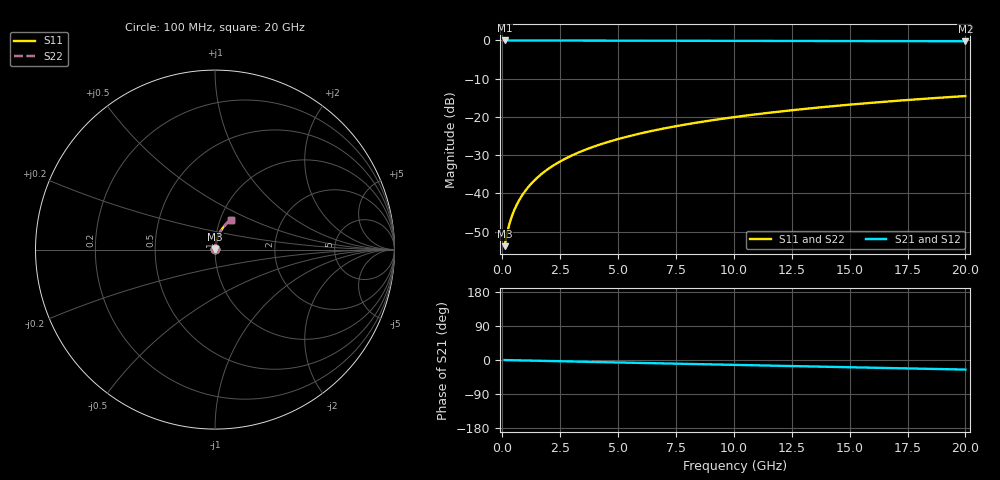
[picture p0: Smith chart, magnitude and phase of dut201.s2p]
! Touchstone file exported from HFSS 2026.1.0
!  File:  C:/ffzhzh/LocalFiles/Ansys_Project_Files/temp_train_TMRDL_201_1782983996_40604.aedt
!  Generated:  05:21:09 PM Jul  2, 2026
!  Design:  TMRDL
!  Project:  temp_train_TMRDL_201_1782983996_40604
! Variables:
!  h_bsmrdl = 2um
!  h_ox = 20um
!  h_rdl = 5um
!  h_sub = 80um
!  h_tmrdl = 3.94um
!  h_tsv = 80um
!  h_via = 3um
!  l_bsmrdl = 300um
!  l_sub = 781.57um
!  l_tmrdl = 381.57um
!  m_sub = 200um
!  pitch = 40.98um
!  r_tsv = 6um
!  s_tmrdl = 10um
!  w_bsmrdl = 18um
!  w_sub = 500um
!  w_tmrdl = 24.37um
!  x_tsv_center1 = 393.755um
!  x_tsv_center2 = 711.755um
!  x_tsv_center3 = 1117.695um
!  x_tsv_center4 = 1435.695um
!  x_tsv_center5 = 1841.635um
!  x_tsv_center6 = 2159.635um
# GHz S MA R 50.000000
! Terminal data exported
! Port[1] = TM_RDL1_1_T1
! Port[2] = TM_RDL1_1_T2
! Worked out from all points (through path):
!   200 points, 100 MHz to 20 GHz, reference 50 ohm
!   highest |S21| = -0.01 dB at 100 MHz (marker M1); lowest = -0.2 dB at 20 GHz (marker M2)
!   group delay of S21, straight-line fit = 3.5 ps
!   lowest |S11| = -53.8 dB at 100 MHz (marker M3), VSWR 1.00, Z = 50.2 + j0.122 ohm
!   |S11| at or under -10 dB: start of sweep to end of sweep
!   |S22| runs from -53.8 to -14.6 dB; largest |S21 - S12| = 4.4e-15
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0.1  0.002033 36.6  0.9984 -0.1  0.9984 -0.1  0.002033 36.6
! Gamma 0 0 0 0
! Port Impedance 50 0 50 0
0.2  0.002939 53.3  0.9982 -0.3  0.9982 -0.3  0.002939 53.3
0.3  0.003914 61.1  0.9981 -0.4  0.9981 -0.4  0.003913 61.1
0.4  0.004888 65.8  0.998 -0.5  0.998 -0.5  0.004888 65.8
0.5  0.005863 69.1  0.998 -0.7  0.998 -0.7  0.005863 69.1
0.6  0.006843 71.5  0.9979 -0.8  0.9979 -0.8  0.006843 71.5
0.8  0.008824 74.8  0.9978 -1.1  0.9978 -1.1  0.008824 74.8
1.1  0.01184 77.6  0.9977 -1.5  0.9977 -1.5  0.01184 77.6
1.3  0.01387 78.8  0.9976 -1.7  0.9976 -1.7  0.01387 78.8
1.6  0.01692 79.8  0.9975 -2.1  0.9975 -2.1  0.01692 79.8
2.1  0.02203 80.7  0.9973 -2.8  0.9973 -2.8  0.02203 80.7
2.7  0.02815 80.9  0.9969 -3.5  0.9969 -3.5  0.02815 80.9
3.5  0.03624 80.6  0.9963 -4.6  0.9963 -4.6  0.03624 80.6
4.2  0.04326 80.1  0.9958 -5.5  0.9958 -5.5  0.04326 80.1
5  0.0512 79.4  0.995 -6.5  0.995 -6.5  0.0512 79.4
5.9  0.06003 78.4  0.9941 -7.7  0.9941 -7.7  0.06003 78.4
6.8  0.06875 77.5  0.9932 -8.8  0.9932 -8.8  0.06875 77.5
8.3  0.08308 75.8  0.9915 -10.7  0.9915 -10.7  0.08308 75.8
10.1  0.09997 73.8  0.9893 -13.0  0.9893 -13.0  0.09997 73.8
13.4  0.1301 70.0  0.9849 -17.1  0.9849 -17.1  0.1301 70.0
16.7  0.1592 66.2  0.9799 -21.2  0.9799 -21.2  0.1592 66.2
20  0.1871 62.3  0.9744 -25.3  0.9744 -25.3  0.1871 62.3
